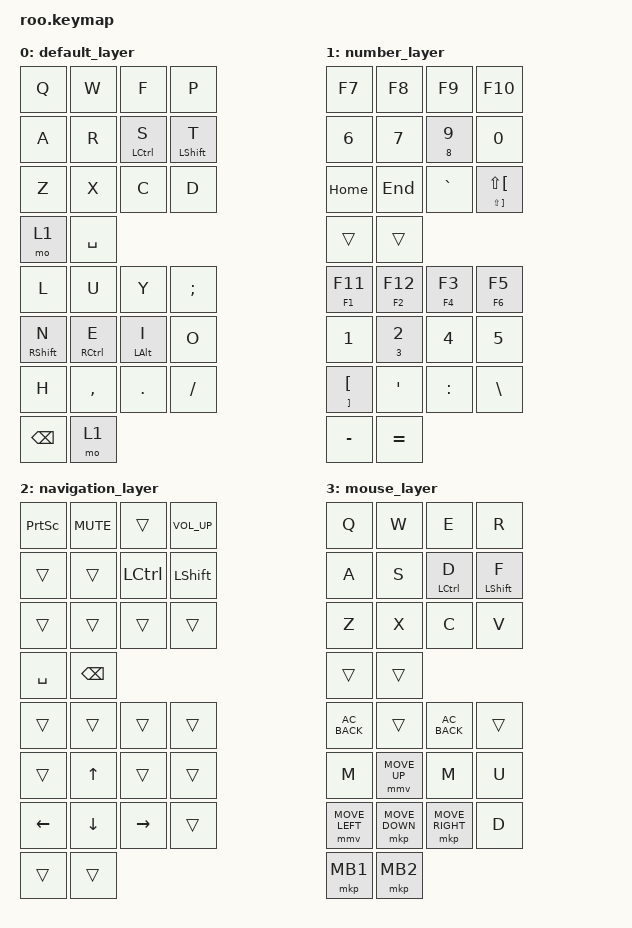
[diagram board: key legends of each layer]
//NEW
#include <behaviors.dtsi>
#include <dt-bindings/zmk/keys.h>
#include <dt-bindings/zmk/pointing.h>
#include <dt-bindings/zmk/bt.h>

//Lets use roo.keymap not 2
/ {
    macros {
        // Back Window
		m_NEXT_WINDOW: m_NEXT_WINDOW {
		compatible = "zmk,behavior-macro";
		#binding-cells = <0>;
		bindings =
			 <&macro_press &kp LSHFT>
			, <&macro_tap &kp LS(LA(TAB))>
			, <&macro_release &kp LSHIFT>
			;
        };
        // Terminal start
        /* mk_term:mk_term { */
        /*     compatible = "zmk,behavior-macro"; */
        /*     #binding-cells = <0>; */
        /*     bindings =  */
        /*         <&macro_tap &kp LG(X)>, */
        /*         <&macro_wait_time 117>, */
        /*         <&macro_tap &kp I>; */
        /* }; */
        /* clear_term_bg:clear_term_bg{ */
        /*     compatible = "zmk,behavior-macro"; */
        /*     #binding-cells = <0>; */
        /*     bindings =  */
        /*        <&macro_tap &kp LG(D)>, */
        /*         <&macro_tap &kp LALT TAB>; */
        /* }; */
    };
};

/ {
	combos {
    compatible = "zmk,combos";
    combo_ESCAPE {
        timeout-ms = <200>;
        key-positions = <0 1>;
        bindings = <&kp ESCAPE>;
        layers = <0>;
    };
    combo_TO_MOUSE {
        timeout-ms = <200>;
        key-positions = <26 27>;
        bindings = <&to 2>;
        layers = <0>;
    };
    combo_TO_DEFAULT{ 
        timeout-ms = <200>;
        key-positions = <26 27>;
        bindings = <&to 0>;
        layers = <2>;
    };
    combo_GUI { 
        timeout-ms = <200>;
        key-positions = <8 9>;
        bindings = <&sk LGUI>;
        layers = <0>;
    };
    combo_DEL { 
        timeout-ms = <200>;
        key-positions = <3 12>;
        bindings = <&kp DELETE >;
        layers = <0>;
    };
    combo_ENTER {
        timeout-ms = <200>;
        key-positions = <24 25>;
        bindings = <&kp ENTER>;
        layers = <0>;
    };
    combo_tab {
        timeout-ms = <200>;
        key-positions =<4 5>;
        bindings = <&kp TAB>;
        layers = <0>;
    };
    combo_G {
        timeout-ms = <200>;
        key-positions =<3 7>;
        bindings = <&kp G>;
        layers = <0>;
    };
    combo_B {
        timeout-ms = <200>;
        key-positions =<7 11>;
        bindings = <&kp B>;
        layers = <0>;
    };
    combo_V {
        timeout-ms = <200>;
        key-positions =<2 6>;
        bindings = <&kp V>;
        layers = <0>;
    };
    combo_K {
        timeout-ms = <200>;
        key-positions =<14 18>;
        bindings = <&kp K>;
        layers = <0>;
    };
    combo_J {
        timeout-ms = <200>;
        key-positions =<18 22>;
        bindings = <&kp J>;
        layers = <0>;
    };
    combo_M {
        timeout-ms = <200>;
        key-positions = <15 19>;
        bindings = <&kp M>;
        layers = <0>;
    };
    combo_NEXT_TAB {
        timeout-ms = <200>;
        key-positions = <20 24>;
        bindings = <&kp LC(TAB)>;
        layers = <0>;
    };
    combo_NEXT_WINDOW {
        timeout-ms = <200>;
        key-positions = <21 25>;
        bindings = <&m_NEXT_WINDOW>;
        layers = <0>;
    };
    combo_TD4 {
        timeout-ms = <200>;
        key-positions = <17 22>;
        bindings = <&td_vol>;
        layers = <0>;
    };
    combo_TD14 {
        timeout-ms = <200>;
        key-positions = <16 20>;
        bindings = <&td_brightness>;
        layers = <0>;
    };
  };
};

/ {
	behaviors {
		td_89: tap_dance_0 {
			compatible = "zmk,behavior-tap-dance";
			#binding-cells=<0>;
			tapping-term-ms = <200>;
			bindings = <&kp N9>, <&kp N8>;
		};
		td_cbrk: tap_dance_1 {
			compatible = "zmk,behavior-tap-dance";
			#binding-cells=<0>;
			tapping-term-ms = <200>;
			bindings = <&kp LBRC>, <&kp RBRC>;
		};
		td_sbrc: tap_dance_cbrc {
			compatible = "zmk,behavior-tap-dance";
			#binding-cells=<0>;
			tapping-term-ms = <200>;
			bindings = <&kp LBKT>, <&kp RBKT>;
		};
		td_23: tap_dance_23 {
			compatible = "zmk,behavior-tap-dance";
			#binding-cells=<0>;
			tapping-term-ms = <200>;
			bindings = <&kp N2>, <&kp N3>;
		};
        td_brightness: td_brightness {
            compatible = "zmk,behavior-tap-dance";
            #binding-cells = <0>;
            tapping-term-ms = <200>;
            bindings = <&mt C_BRI_UP &trans>, <&mt C_BRI_DN &trans>;
        };
        td_vol: td_vol {
            compatible = "zmk,behavior-tap-dance";
            #binding-cells = <0>;
            tapping-term-ms = <200>;
            bindings = <&mt C_VOL_UP C_VOL_DN>, <&mt C_MUTE C_VOL_UP>;
        };
        td_mouse: td_mouse {
            compatible = "zmk,behavior-tap-dance";
            #binding-cells = <0>;
            tapping-term-ms = <200>;
            bindings = <&mt &mkp MB2 &mkp MB2>, <&mt &mkp MB3 &mkp MB3>;
        };
   };
};

		/ {
    keymap {
        compatible = "zmk,keymap";

        default_layer { // Layer 0
            // -------------------------------------:
            // | q | w | f | p           l | u | y | m
            // | a | r | s | t           n | e | i | o
            // | z | x | c | d           h | k | j | v
	    //             |num|bk   sp|dir --lyihu;o,en./
		// NOW: lyihu;o,en./<mo1><bksp>
		// AIM: luy;neioh,./<bksp><mo1>
 			bindings = <
				&kp Q &kp W &kp F &kp P
				&kp A &kp R &mt LCTRL S &mt LSHIFT T
				&kp Z &kp X &kp C &kp D
				&mo 1 &kp SPACE
				&kp L &kp U &kp Y &kp SEMI
				&mt RSHIFT N &mt RCTRL E &mt LALT I &kp O
				&kp H &kp COMMA &kp DOT &kp FSLH
				&kp BSPC &mo 1
			>;
        };
		number_layer {
            // -------------------------------------
            // | F5| F6| F7| F8          F1| F2| F3| F4
            // | 6 | 7 |9,8| 0           1 | 2 | 3 | 4
            // |hm |end| ` | {}          [] | k | j | v
	    //             | g | b  0 | 1

			bindings = <
				&kp F7 &kp F8 &kp F9 &kp F10
				&kp N6 &kp N7 &mt N8 N9 &kp N0
				&kp HOME &kp END &kp GRAVE &mt LS(RBKT) LS(LBKT)
				&trans &trans
				&mt F1 F11 &mt F2 F12 &mt F4 F3 &mt F6 F5
				&kp N1 &mt N3 N2 &kp N4 &kp N5
				&mt RBKT LBKT &kp SQT &kp COLON &kp BSLH
				&kp MINUS &kp EQUAL
			>;

        };
        navigation_layer {

            bindings = <
                &kp PSCRN &kp C_MUTE &trans &kp C_VOL_UP
                &trans &trans &kp LCTRL &kp LSHIFT
                &trans &trans &trans &trans
                &kp SPACE &kp BSPC

				&trans &trans &trans &trans
                &trans &kp UP &trans &trans 
                &kp LEFT &kp DOWN &kp RIGHT &trans 
                &trans &trans 
            >;
         };
        mouse_layer {
            bindings = <
                &kp Q &kp W &kp E &kp R 
                &kp A &kp S &mt LCTRL D &mt LSHIFT F 
                &kp Z &kp X &kp C &kp V 
                &trans &trans

                &kp C_AC_BACK &trans &kp C_AC_BACK &trans 
                &kp M &mmv MOVE_UP &kp M &kp U
                &mmv MOVE_LEFT &mkp MOVE_DOWN &mkp MOVE_RIGHT &kp D
                &mkp MB1 &mkp MB2
            >;
        };
    };
 };
